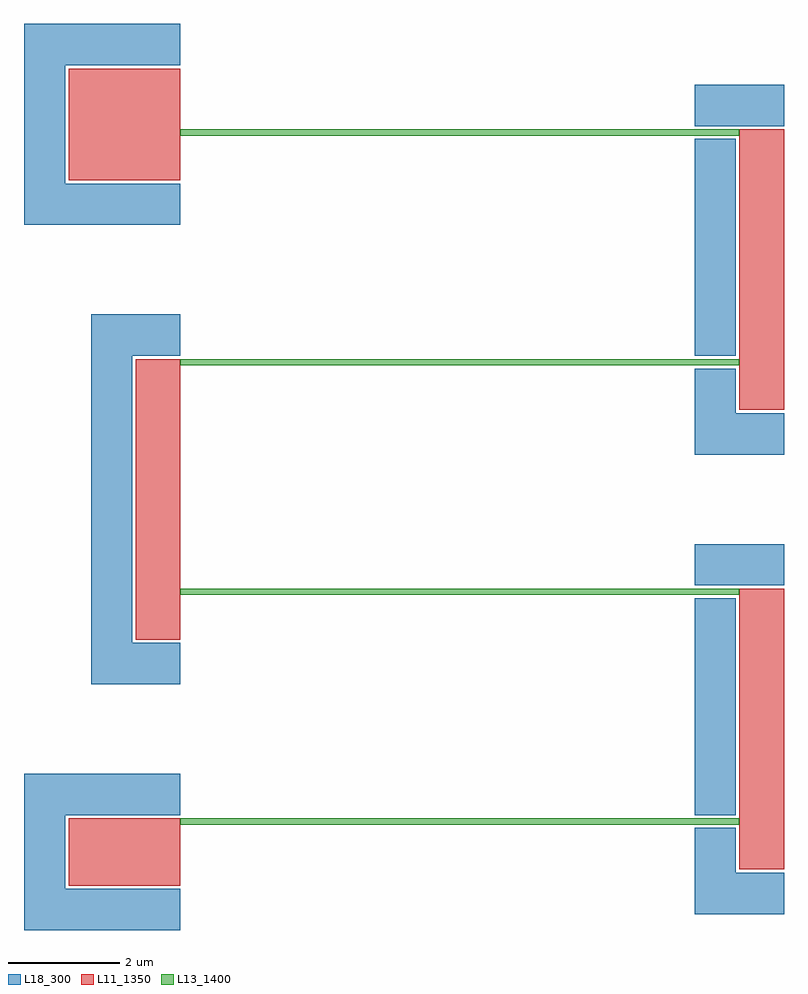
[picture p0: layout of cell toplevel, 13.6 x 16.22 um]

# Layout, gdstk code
import gdstk
lib = gdstk.Library(unit=1e-6, precision=1e-09)
def R(c, l, rs):  # rectangles x0, y0, x1, y1
    for r in rs: c.add(gdstk.rectangle(r[:2], r[2:], *l))
def P(c, l, *ps):  # polygons
    for p in ps: c.add(gdstk.Polygon(p, *l))
L11_1350 = (11, 1350)
L13_1400 = (13, 1400)
L18_300 = (18, 300)

rectangle008 = lib.new_cell('rectangle008')
R(rectangle008, L11_1350, [(0,0,0.8,4.22)])

rectangle009 = lib.new_cell('rectangle009')
R(rectangle009, L11_1350, [(0,-0.8,0.8,0)])

arm_connector = lib.new_cell('Arm connector')
arm_connector.add(gdstk.Reference(rectangle008, (-0.8,-8.22)))
arm_connector.add(gdstk.Reference(rectangle009, (-0.8,-8.22)))

rectangle011 = lib.new_cell('rectangle011')
R(rectangle011, L11_1350, [(0,0,0.8,4.22)])

rectangle012 = lib.new_cell('rectangle012')
R(rectangle012, L11_1350, [(0,-0.8,0.8,0)])

arm_connector010 = lib.new_cell('Arm connector010')
arm_connector010.add(gdstk.Reference(rectangle011, (10,-4.11)))
arm_connector010.add(gdstk.Reference(rectangle012, (10,-4.11)))

rectangle015 = lib.new_cell('rectangle015')
R(rectangle015, L11_1350, [(0,0,0.8,4.22)])

rectangle016 = lib.new_cell('rectangle016')
R(rectangle016, L11_1350, [(0,-0.8,0.8,0)])

arm_connector014 = lib.new_cell('Arm connector014')
arm_connector014.add(gdstk.Reference(rectangle015, (10,-12.33)))
arm_connector014.add(gdstk.Reference(rectangle016, (10,-12.33)))

arms = lib.new_cell('Arms')
arms.add(gdstk.Reference(arm_connector, (0,0)))
arms.add(gdstk.Reference(arm_connector010, (0,0)))
arms.add(gdstk.Reference(arm_connector014, (0,0)))

rectangle = lib.new_cell('rectangle')
R(rectangle, L13_1400, [(0,0,10,0.11)])

resistive_segment = lib.new_cell('Resistive segment')
resistive_segment.add(gdstk.Reference(rectangle, (0,0)))

rectangle003 = lib.new_cell('rectangle003')
R(rectangle003, L13_1400, [(0,0,10,0.11)])

resistive_segment002 = lib.new_cell('Resistive segment002')
resistive_segment002.add(gdstk.Reference(rectangle003, (0,-4.11)))

rectangle005 = lib.new_cell('rectangle005')
R(rectangle005, L13_1400, [(0,0,10,0.11)])

resistive_segment004 = lib.new_cell('Resistive segment004')
resistive_segment004.add(gdstk.Reference(rectangle005, (0,-8.22)))

rectangle007 = lib.new_cell('rectangle007')
R(rectangle007, L13_1400, [(0,0,10,0.11)])

resistive_segment006 = lib.new_cell('Resistive segment006')
resistive_segment006.add(gdstk.Reference(rectangle007, (0,-12.33)))

resistive_segments = lib.new_cell('Resistive segments')
resistive_segments.add(gdstk.Reference(resistive_segment, (0,0)))
resistive_segments.add(gdstk.Reference(resistive_segment002, (0,0)))
resistive_segments.add(gdstk.Reference(resistive_segment004, (0,0)))
resistive_segments.add(gdstk.Reference(resistive_segment006, (0,0)))

boolean = lib.new_cell('boolean')
P(boolean, L18_300, [(0,-9.08),(-0.86,-9.08),(-0.86,-3.94),(0,-3.94),(0,-3.2),(-1.6,-3.2),(-1.6,-9.82),(0,-9.82)])

boolean013 = lib.new_cell('boolean013')
R(boolean013, L18_300, [(9.2,-3.94,9.94,-0.06), (9.2,0.17,10.8,0.91)])
P(boolean013, L18_300, [(10.8,-4.97),(9.94,-4.97),(9.94,-4.17),(9.2,-4.17),(9.2,-5.71),(10.8,-5.71)])

boolean017 = lib.new_cell('boolean017')
R(boolean017, L18_300, [(9.2,-12.16,9.94,-8.28), (9.2,-8.05,10.8,-7.31)])
P(boolean017, L18_300, [(10.8,-13.19),(9.94,-13.19),(9.94,-12.39),(9.2,-12.39),(9.2,-13.93),(10.8,-13.93)])

boolean020 = lib.new_cell('boolean020')
P(boolean020, L18_300, [(0,-0.86),(-2.06,-0.86),(-2.06,1.26),(0,1.26),(0,2),(-2.8,2),(-2.8,-1.6),(0,-1.6)])

boolean024 = lib.new_cell('boolean024')
P(boolean024, L18_300, [(0,-0.06),(-2.06,-0.06),(-2.06,1.26),(0,1.26),(0,2),(-2.8,2),(-2.8,-0.8),(0,-0.8)])

undercut023 = lib.new_cell('Undercut023')
undercut023.add(gdstk.Reference(boolean024, (0,-13.42)))

undercut = lib.new_cell('Undercut')
undercut.add(gdstk.Reference(boolean020, (0,0)))
undercut.add(gdstk.Reference(undercut023, (0,0)))

liftoff_undercut = lib.new_cell('Liftoff undercut')
liftoff_undercut.add(gdstk.Reference(boolean, (0,0)))
liftoff_undercut.add(gdstk.Reference(boolean013, (0,0)))
liftoff_undercut.add(gdstk.Reference(boolean017, (0,0)))
liftoff_undercut.add(gdstk.Reference(undercut, (0,0)))

rectangle018 = lib.new_cell('rectangle018')
R(rectangle018, L11_1350, [(-2,0,0,1.2)])

connector = lib.new_cell('Connector')
connector.add(gdstk.Reference(rectangle018, (0,0)))

rectangle019 = lib.new_cell('rectangle019')
R(rectangle019, L11_1350, [(-2,-0.8,0,0)])

top_connector = lib.new_cell('Top connector')
top_connector.add(gdstk.Reference(connector, (0,0)))
top_connector.add(gdstk.Reference(rectangle019, (0,0)))

rectangle022 = lib.new_cell('rectangle022')
R(rectangle022, L11_1350, [(-2,0,0,1.2)])

connector021 = lib.new_cell('Connector021')
connector021.add(gdstk.Reference(rectangle022, (0,-13.42)))

bot_connector = lib.new_cell('Bot connector')
bot_connector.add(gdstk.Reference(connector021, (0,0)))

toplevel = lib.new_cell('toplevel')
toplevel.add(gdstk.Reference(arms, (0,0)))
toplevel.add(gdstk.Reference(resistive_segments, (0,0)))
toplevel.add(gdstk.Reference(liftoff_undercut, (0,0)))
toplevel.add(gdstk.Reference(top_connector, (0,0)))
toplevel.add(gdstk.Reference(bot_connector, (0,0)))

lib.write_gds('toplevel.gds')
